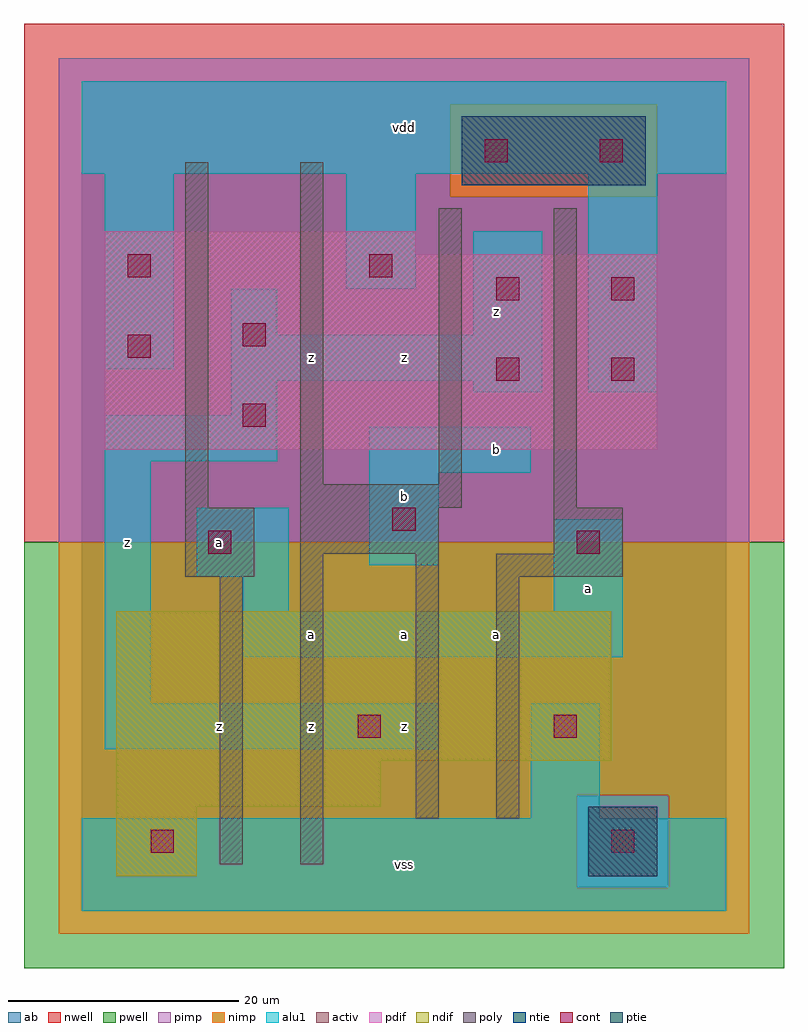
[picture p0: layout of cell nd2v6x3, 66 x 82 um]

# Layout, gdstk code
import gdstk
lib = gdstk.Library(unit=1e-6, precision=1e-09)
def R(c, l, rs):  # rectangles x0, y0, x1, y1
    for r in rs: c.add(gdstk.rectangle(r[:2], r[2:], *l))
ndif = (3, 0)
pdif = (4, 0)
ntie = (5, 0)
ptie = (6, 0)
cont = (25, 0)
pwell = (41, 0)
nwell = (42, 0)
activ = (43, 0)
pimp = (44, 0)
nimp = (45, 0)
poly = (46, 0)
alu1 = (49, 0)
ab = (63, 0)

nd2v6x3 = lib.new_cell('nd2v6x3')
R(nd2v6x3, ndif, [(3,3,10,9), (3,9,26,13), (3,13,46,26)])
R(nd2v6x3, pdif, [(2,40,50,57), (2,57,29,59)])
R(nd2v6x3, ntie, [(33,63,49,69)])
R(nd2v6x3, ptie, [(44,3,50,9)])
R(nd2v6x3, cont, [(6,5,8,7), (46,5,48,7), (24,15,26,17), (41,15,43,17), (11,31,13,33), (43,31,45,33), (27,33,29,35), (14,42,16,44), (36,46,38,48), (46,46,48,48), (4,48,6,50), (14,49,16,51), (36,53,38,55), (46,53,48,55), (4,55,6,57), (25,55,27,57), (35,65,37,67), (45,65,47,67)])
R(nd2v6x3, pwell, [(-5,-5,61,32)])
R(nd2v6x3, nwell, [(-5,32,61,77)])
R(nd2v6x3, activ, [(3,3,10,9), (44,3,50,9), (3,9,26,13), (3,13,46,26), (2,40,50,57), (2,57,29,59), (33,63,49,69)])
R(nd2v6x3, pimp, [(43,2,51,10), (-2,32,58,62), (-2,62,32,70), (50,62,58,70), (-2,70,58,74)])
R(nd2v6x3, nimp, [(-2,-2,58,2), (-2,2,43,10), (51,2,58,10), (-2,10,58,32), (32,62,50,70)])
R(nd2v6x3, poly, [(12,4,14,29), (19,4,21,31), (29,8,31,31), (36,8,38,29), (9,29,15,35), (36,29,47,31), (19,31,31,35), (41,31,47,35), (9,35,11,65), (19,35,33,37), (41,35,43,61), (19,37,21,65), (31,37,33,61)])
R(nd2v6x3, alu1, [(0,0,56,8), (39,8,45,18), (2,14,31,18), (2,18,6,39), (14,22,47,26), (14,26,18,29), (41,26,47,34), (10,29,18,35), (25,30,31,38), (25,38,39,42), (2,39,17,43), (13,43,17,46), (34,45,40,46), (44,45,50,64), (13,46,40,50), (2,47,8,64), (13,50,17,54), (34,50,40,59), (23,54,29,64), (0,64,56,72)])
R(nd2v6x3, ab, [(0,0,56,72)])
nd2v6x3.add(gdstk.Label('z', (4,32), layer=49, texttype=0))
nd2v6x3.add(gdstk.Label('z', (20,16), layer=49, texttype=0))
nd2v6x3.add(gdstk.Label('z', (12,16), layer=49, texttype=0))
nd2v6x3.add(gdstk.Label('a', (12,32), layer=49, texttype=0))
nd2v6x3.add(gdstk.Label('a', (20,24), layer=49, texttype=0))
nd2v6x3.add(gdstk.Label('z', (20,48), layer=49, texttype=0))
nd2v6x3.add(gdstk.Label('vss', (28,4), layer=49, texttype=0))
nd2v6x3.add(gdstk.Label('z', (28,16), layer=49, texttype=0))
nd2v6x3.add(gdstk.Label('a', (28,24), layer=49, texttype=0))
nd2v6x3.add(gdstk.Label('a', (36,24), layer=49, texttype=0))
nd2v6x3.add(gdstk.Label('b', (36,40), layer=49, texttype=0))
nd2v6x3.add(gdstk.Label('b', (28,36), layer=49, texttype=0))
nd2v6x3.add(gdstk.Label('z', (28,48), layer=49, texttype=0))
nd2v6x3.add(gdstk.Label('z', (36,52), layer=49, texttype=0))
nd2v6x3.add(gdstk.Label('vdd', (28,68), layer=49, texttype=0))
nd2v6x3.add(gdstk.Label('a', (44,28), layer=49, texttype=0))

lib.write_gds('nd2v6x3.gds')
